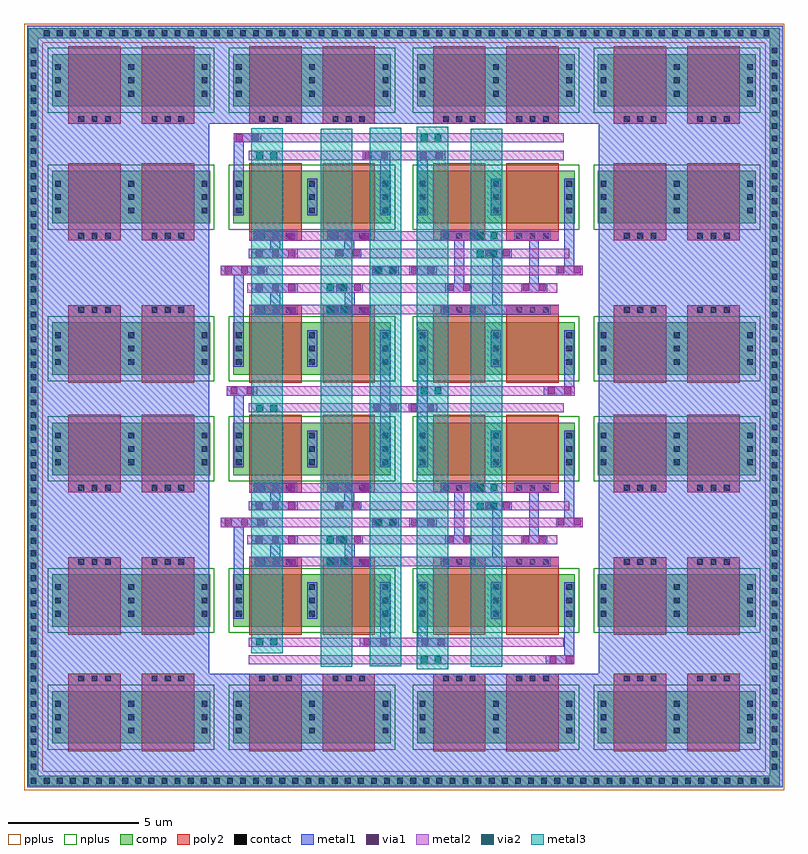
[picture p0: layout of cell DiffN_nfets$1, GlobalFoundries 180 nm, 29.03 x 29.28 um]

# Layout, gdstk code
import gdstk
lib = gdstk.Library(unit=1e-6, precision=1e-09)
def R(c, l, rs):  # rectangles x0, y0, x1, y1
    for r in rs: c.add(gdstk.rectangle(r[:2], r[2:], *l))
def A(c, l, x, y, w, h, nx, ny, dx, dy):  # array of equal rectangles
    R(c, l, [(x+i*dx, y+j*dy, x+i*dx+w, y+j*dy+h) for i in range(nx) for j in range(ny)])
comp = (22, 0)
poly2 = (30, 0)
pplus = (31, 0)
nplus = (32, 0)
contact = (33, 0)
metal1 = (34, 0)
via1 = (35, 0)
metal2 = (36, 0)
via2 = (38, 0)
metal3 = (42, 0)

nfet_1 = lib.new_cell('nfet$1')
R(nfet_1, comp, [(-0.42,0,0,2), (0,0,2.38,2), (2.38,0,2.8,2)])
R(nfet_1, poly2, [(0.19,-0.3,2.19,2.3), (0.19,2.3,2.19,2.66)])
R(nfet_1, nplus, [(-0.59,-0.24,2.97,2.24)])
A(nfet_1, contact, -0.32, 0.38, 0.22, 0.22, 1, 3, 0, 0.51)
A(nfet_1, contact, 2.48, 0.38, 0.22, 0.22, 1, 3, 0, 0.51)
A(nfet_1, contact, 0.57, 2.37, 0.22, 0.22, 3, 1, 0.51, 0)
R(nfet_1, metal1, [(-0.4,0.3,-0.02,1.7), (2.4,0.3,2.78,1.7), (0.49,2.29,1.89,2.67)])

diffn_nfets_1 = lib.new_cell('DiffN_nfets$1')
R(diffn_nfets_1, comp, [(-8.235,-3.245,20.455,-2.865), (-8.235,-2.865,-7.855,25.695), (20.075,-2.865,20.455,25.695), (-8.235,25.315,20.455,25.695)])
R(diffn_nfets_1, pplus, [(-8.405,-3.415,20.625,-2.695), (-8.405,-3.04,-7.685,25.865), (19.905,-3.04,20.625,25.865), (-8.405,25.145,20.625,25.865)])
A(diffn_nfets_1, contact, -8.15, -3.165, 0.22, 0.22, 57, 1, 0.5, 0)
A(diffn_nfets_1, contact, -8.155, -2.63, 0.22, 0.22, 1, 58, 0, 0.48)
A(diffn_nfets_1, contact, 20.155, -2.63, 0.22, 0.22, 1, 58, 0, 0.48)
A(diffn_nfets_1, contact, -7.65, 25.395, 0.22, 0.22, 56, 1, 0.5, 0)
R(diffn_nfets_1, contact, [(-8.155,24.73,-7.935,24.95)])
R(diffn_nfets_1, metal1, [(-8.275,-3.3,-1.32,25.785), (-1.715,-3.3,20.585,1.045), (13.54,-1.325,20.585,24.405), (11.515,1.39,12.61,1.745), (12.23,1.47,12.61,3.615), (4.42,2.065,5.59,2.42), (5.21,2.065,5.59,4.14), (6.63,2.065,7.8,2.42), (6.63,2.065,7.01,3.74), (-0.39,4.515,-0.01,6.84), (0.41,5.125,2.06,5.505), (1.01,5.125,1.39,6.22), (3.185,5.125,4.835,5.505), (3.845,5.125,4.225,6.33), (8.845,5.125,10.755,5.505), (9.48,5.16,9.86,7.3), (0.295,5.975,2.06,6.33), (3.525,5.975,4.535,6.33), (3.525,5.975,4.535,6.33), (3.525,5.975,4.535,6.33), (7.695,5.975,8.705,6.33), (7.695,5.975,8.705,6.33), (7.695,5.975,8.705,6.33), (10.58,5.975,11.59,6.33), (10.58,5.975,11.59,6.33), (10.58,5.975,11.59,6.33), (8.025,6.19,8.405,8.33), (10.885,6.275,11.265,8.335), (-0.885,6.635,0.88,6.99), (4.9,6.635,5.91,6.99), (4.9,6.635,5.91,6.99), (4.9,6.635,5.91,6.99), (6.31,6.635,7.37,6.99), (11.92,6.635,12.93,6.99), (11.92,6.635,12.93,6.99), (11.92,6.635,12.93,6.99), (12.23,6.905,12.61,9.23), (12.23,6.905,12.61,9.23), (0.295,7.275,2.06,7.63), (3.475,7.275,4.485,7.63), (3.475,7.275,4.485,7.63), (3.475,7.275,4.485,7.63), (9.21,7.275,10.22,7.63), (9.21,7.275,10.22,7.63), (9.21,7.275,10.22,7.63), (1.01,7.315,1.39,8.325), (3.83,7.325,4.21,8.325), (0.38,7.955,2.03,8.335), (3.185,7.955,4.835,8.335), (-0.39,10.285,-0.01,11.94), (5.21,10.3,5.59,11.335), (6.63,10.3,7.01,12.825), (4.8,11.015,5.915,11.37), (6.3,11.015,7.385,11.37), (5.21,11.31,5.59,12.855), (-0.665,11.66,0.505,12.015), (11.455,11.66,12.625,12.015), (12.23,11.66,12.61,12.86), (-0.39,14.135,-0.01,16.46), (0.41,14.745,2.06,15.125), (1.01,14.745,1.39,15.84), (3.185,14.745,4.835,15.125), (3.845,14.745,4.225,15.95), (8.845,14.745,10.755,15.125), (9.48,14.78,9.86,16.94), (0.295,15.595,2.06,15.95), (3.525,15.595,4.535,15.95), (3.525,15.595,4.535,15.95), (3.525,15.595,4.535,15.95), (7.695,15.595,8.705,15.95), (7.695,15.595,8.705,15.95), (7.695,15.595,8.705,15.95), (10.58,15.595,11.59,15.95), (10.58,15.595,11.59,15.95), (10.58,15.595,11.59,15.95), (8.025,15.81,8.405,17.95), (10.885,15.895,11.265,17.955), (-0.885,16.265,0.88,16.62), (4.9,16.265,5.91,16.62), (4.9,16.265,5.91,16.62), (4.9,16.265,5.91,16.62), (6.31,16.265,7.37,16.62), (11.92,16.265,12.93,16.62), (11.92,16.265,12.93,16.62), (11.92,16.265,12.93,16.62), (12.23,16.525,12.61,18.85), (12.23,16.525,12.61,18.85), (0.295,16.91,2.06,17.265), (3.475,16.91,4.485,17.265), (3.475,16.91,4.485,17.265), (3.475,16.91,4.485,17.265), (9.21,16.91,10.22,17.265), (9.21,16.91,10.22,17.265), (9.21,16.91,10.22,17.265), (1.01,16.93,1.39,17.945), (3.83,16.985,4.21,17.945), (0.38,17.575,2.03,17.955), (3.185,17.575,4.835,17.955), (-0.39,19.915,-0.01,21.425), (5.21,19.915,5.59,20.9), (6.63,19.915,7.01,20.9), (4.535,20.655,5.59,21.01), (6.63,20.655,7.685,21.01), (-0.39,21.335,0.665,21.69), (-1.715,22.035,20.585,25.785)])
R(diffn_nfets_1, via1, [(11.67,1.44,11.93,1.7), (11.67,1.44,11.93,1.7), (11.67,1.44,11.93,1.7), (11.67,1.44,11.93,1.7), (11.67,1.44,11.93,1.7), (11.67,1.44,11.93,1.7), (11.67,1.44,11.93,1.7), (11.67,1.44,11.93,1.7), (12.29,1.44,12.55,1.7), (12.29,1.44,12.55,1.7), (12.29,1.44,12.55,1.7), (12.29,1.44,12.55,1.7), (12.29,1.44,12.55,1.7), (12.29,1.44,12.55,1.7), (12.29,1.44,12.55,1.7), (12.29,1.44,12.55,1.7), (4.575,2.115,4.835,2.375), (4.575,2.115,4.835,2.375), (4.575,2.115,4.835,2.375), (4.575,2.115,4.835,2.375), (4.575,2.115,4.835,2.375), (4.575,2.115,4.835,2.375), (4.575,2.115,4.835,2.375), (4.575,2.115,4.835,2.375), (5.195,2.115,5.455,2.375), (5.195,2.115,5.455,2.375), (5.195,2.115,5.455,2.375), (5.195,2.115,5.455,2.375), (5.195,2.115,5.455,2.375), (5.195,2.115,5.455,2.375), (5.195,2.115,5.455,2.375), (5.195,2.115,5.455,2.375), (6.785,2.115,7.045,2.375), (6.785,2.115,7.045,2.375), (6.785,2.115,7.045,2.375), (6.785,2.115,7.045,2.375), (6.785,2.115,7.045,2.375), (6.785,2.115,7.045,2.375), (6.785,2.115,7.045,2.375), (6.785,2.115,7.045,2.375), (7.405,2.115,7.665,2.375), (7.405,2.115,7.665,2.375), (7.405,2.115,7.665,2.375), (7.405,2.115,7.665,2.375), (7.405,2.115,7.665,2.375), (7.405,2.115,7.665,2.375), (7.405,2.115,7.665,2.375), (7.405,2.115,7.665,2.375), (0.48,5.175,0.74,5.435), (0.48,5.175,0.74,5.435), (0.48,5.175,0.74,5.435), (0.48,5.175,0.74,5.435), (0.48,5.175,0.74,5.435), (0.48,5.175,0.74,5.435), (0.48,5.175,0.74,5.435), (0.48,5.175,0.74,5.435), (1.1,5.175,1.36,5.435), (1.1,5.175,1.36,5.435), (1.1,5.175,1.36,5.435), (1.1,5.175,1.36,5.435), (1.1,5.175,1.36,5.435), (1.1,5.175,1.36,5.435), (1.1,5.175,1.36,5.435), (1.1,5.175,1.36,5.435), (1.72,5.175,1.98,5.435), (1.72,5.175,1.98,5.435), (1.72,5.175,1.98,5.435), (1.72,5.175,1.98,5.435), (1.72,5.175,1.98,5.435), (1.72,5.175,1.98,5.435), (1.72,5.175,1.98,5.435), (1.72,5.175,1.98,5.435), (3.255,5.175,3.515,5.435), (3.255,5.175,3.515,5.435), (3.255,5.175,3.515,5.435), (3.255,5.175,3.515,5.435), (3.255,5.175,3.515,5.435), (3.255,5.175,3.515,5.435), (3.255,5.175,3.515,5.435), (3.255,5.175,3.515,5.435), (3.875,5.175,4.135,5.435), (3.875,5.175,4.135,5.435), (3.875,5.175,4.135,5.435), (3.875,5.175,4.135,5.435), (3.875,5.175,4.135,5.435), (3.875,5.175,4.135,5.435), (3.875,5.175,4.135,5.435), (3.875,5.175,4.135,5.435), (4.495,5.175,4.755,5.435), (4.495,5.175,4.755,5.435), (4.495,5.175,4.755,5.435), (4.495,5.175,4.755,5.435), (4.495,5.175,4.755,5.435), (4.495,5.175,4.755,5.435), (4.495,5.175,4.755,5.435), (4.495,5.175,4.755,5.435), (0.45,6.025,0.71,6.285), (0.45,6.025,0.71,6.285), (0.45,6.025,0.71,6.285), (0.45,6.025,0.71,6.285), (0.45,6.025,0.71,6.285), (0.45,6.025,0.71,6.285), (0.45,6.025,0.71,6.285), (0.45,6.025,0.71,6.285), (1.07,6.025,1.33,6.285), (1.07,6.025,1.33,6.285), (1.07,6.025,1.33,6.285), (1.07,6.025,1.33,6.285), (1.07,6.025,1.33,6.285), (1.07,6.025,1.33,6.285), (1.07,6.025,1.33,6.285), (1.07,6.025,1.33,6.285), (1.69,6.025,1.95,6.285), (1.69,6.025,1.95,6.285), (1.69,6.025,1.95,6.285), (1.69,6.025,1.95,6.285), (1.69,6.025,1.95,6.285), (1.69,6.025,1.95,6.285), (1.69,6.025,1.95,6.285), (1.69,6.025,1.95,6.285), (3.585,6.04,3.845,6.3), (4.205,6.04,4.465,6.3), (7.755,6.04,8.015,6.3), (8.375,6.04,8.635,6.3), (10.64,6.04,10.9,6.3), (11.26,6.04,11.52,6.3), (-0.73,6.685,-0.47,6.945), (-0.73,6.685,-0.47,6.945), (-0.73,6.685,-0.47,6.945), (-0.73,6.685,-0.47,6.945), (-0.73,6.685,-0.47,6.945), (-0.73,6.685,-0.47,6.945), (-0.73,6.685,-0.47,6.945), (-0.73,6.685,-0.47,6.945), (-0.11,6.685,0.15,6.945), (-0.11,6.685,0.15,6.945), (-0.11,6.685,0.15,6.945), (-0.11,6.685,0.15,6.945), (-0.11,6.685,0.15,6.945), (-0.11,6.685,0.15,6.945), (-0.11,6.685,0.15,6.945), (-0.11,6.685,0.15,6.945), (0.51,6.685,0.77,6.945), (0.51,6.685,0.77,6.945), (0.51,6.685,0.77,6.945), (0.51,6.685,0.77,6.945), (0.51,6.685,0.77,6.945), (0.51,6.685,0.77,6.945), (0.51,6.685,0.77,6.945), (0.51,6.685,0.77,6.945), (6.38,6.685,6.64,6.945), (6.38,6.685,6.64,6.945), (6.38,6.685,6.64,6.945), (6.38,6.685,6.64,6.945), (6.38,6.685,6.64,6.945), (6.38,6.685,6.64,6.945), (6.38,6.685,6.64,6.945), (6.38,6.685,6.64,6.945), (7,6.685,7.26,6.945), (7,6.685,7.26,6.945), (7,6.685,7.26,6.945), (7,6.685,7.26,6.945), (7,6.685,7.26,6.945), (7,6.685,7.26,6.945), (7,6.685,7.26,6.945), (7,6.685,7.26,6.945), (4.96,6.7,5.22,6.96), (4.96,6.7,5.22,6.96), (5.58,6.7,5.84,6.96), (5.58,6.7,5.84,6.96), (11.98,6.7,12.24,6.96), (11.98,6.7,12.24,6.96), (12.6,6.7,12.86,6.96), (12.6,6.7,12.86,6.96), (0.45,7.325,0.71,7.585), (0.45,7.325,0.71,7.585), (0.45,7.325,0.71,7.585), (0.45,7.325,0.71,7.585), (0.45,7.325,0.71,7.585), (0.45,7.325,0.71,7.585), (0.45,7.325,0.71,7.585), (0.45,7.325,0.71,7.585), (1.07,7.325,1.33,7.585), (1.07,7.325,1.33,7.585), (1.07,7.325,1.33,7.585), (1.07,7.325,1.33,7.585), (1.07,7.325,1.33,7.585), (1.07,7.325,1.33,7.585), (1.07,7.325,1.33,7.585), (1.07,7.325,1.33,7.585), (1.69,7.325,1.95,7.585), (1.69,7.325,1.95,7.585), (1.69,7.325,1.95,7.585), (1.69,7.325,1.95,7.585), (1.69,7.325,1.95,7.585), (1.69,7.325,1.95,7.585), (1.69,7.325,1.95,7.585), (1.69,7.325,1.95,7.585), (3.535,7.34,3.795,7.6), (4.155,7.34,4.415,7.6), (9.27,7.34,9.53,7.6), (9.89,7.34,10.15,7.6), (0.45,8.005,0.71,8.265), (0.45,8.005,0.71,8.265), (0.45,8.005,0.71,8.265), (0.45,8.005,0.71,8.265), (0.45,8.005,0.71,8.265), (0.45,8.005,0.71,8.265), (0.45,8.005,0.71,8.265), (0.45,8.005,0.71,8.265), (1.07,8.005,1.33,8.265), (1.07,8.005,1.33,8.265), (1.07,8.005,1.33,8.265), (1.07,8.005,1.33,8.265), (1.07,8.005,1.33,8.265), (1.07,8.005,1.33,8.265), (1.07,8.005,1.33,8.265), (1.07,8.005,1.33,8.265), (1.69,8.005,1.95,8.265), (1.69,8.005,1.95,8.265), (1.69,8.005,1.95,8.265), (1.69,8.005,1.95,8.265), (1.69,8.005,1.95,8.265), (1.69,8.005,1.95,8.265), (1.69,8.005,1.95,8.265), (1.69,8.005,1.95,8.265), (3.255,8.005,3.515,8.265), (3.255,8.005,3.515,8.265), (3.255,8.005,3.515,8.265), (3.255,8.005,3.515,8.265), (3.255,8.005,3.515,8.265), (3.255,8.005,3.515,8.265), (3.255,8.005,3.515,8.265), (3.255,8.005,3.515,8.265), (3.875,8.005,4.135,8.265), (3.875,8.005,4.135,8.265), (3.875,8.005,4.135,8.265), (3.875,8.005,4.135,8.265), (3.875,8.005,4.135,8.265), (3.875,8.005,4.135,8.265), (3.875,8.005,4.135,8.265), (3.875,8.005,4.135,8.265), (4.495,8.005,4.755,8.265), (4.495,8.005,4.755,8.265), (4.495,8.005,4.755,8.265), (4.495,8.005,4.755,8.265), (4.495,8.005,4.755,8.265), (4.495,8.005,4.755,8.265), (4.495,8.005,4.755,8.265), (4.495,8.005,4.755,8.265), (4.955,11.065,5.215,11.325), (4.955,11.065,5.215,11.325), (4.955,11.065,5.215,11.325), (4.955,11.065,5.215,11.325), (4.955,11.065,5.215,11.325), (4.955,11.065,5.215,11.325), (4.955,11.065,5.215,11.325), (4.955,11.065,5.215,11.325), (5.575,11.065,5.835,11.325), (5.575,11.065,5.835,11.325), (5.575,11.065,5.835,11.325), (5.575,11.065,5.835,11.325), (5.575,11.065,5.835,11.325), (5.575,11.065,5.835,11.325), (5.575,11.065,5.835,11.325), (5.575,11.065,5.835,11.325), (6.37,11.065,6.63,11.325), (6.37,11.065,6.63,11.325), (6.37,11.065,6.63,11.325), (6.37,11.065,6.63,11.325), (6.37,11.065,6.63,11.325), (6.37,11.065,6.63,11.325), (6.37,11.065,6.63,11.325), (6.37,11.065,6.63,11.325), (6.99,11.065,7.25,11.325), (6.99,11.065,7.25,11.325), (6.99,11.065,7.25,11.325), (6.99,11.065,7.25,11.325), (6.99,11.065,7.25,11.325), (6.99,11.065,7.25,11.325), (6.99,11.065,7.25,11.325), (6.99,11.065,7.25,11.325), (-0.51,11.71,-0.25,11.97), (-0.51,11.71,-0.25,11.97), (-0.51,11.71,-0.25,11.97), (-0.51,11.71,-0.25,11.97), (-0.51,11.71,-0.25,11.97), (-0.51,11.71,-0.25,11.97), (-0.51,11.71,-0.25,11.97), (-0.51,11.71,-0.25,11.97), (0.11,11.71,0.37,11.97), (0.11,11.71,0.37,11.97), (0.11,11.71,0.37,11.97), (0.11,11.71,0.37,11.97), (0.11,11.71,0.37,11.97), (0.11,11.71,0.37,11.97), (0.11,11.71,0.37,11.97), (0.11,11.71,0.37,11.97), (11.61,11.71,11.87,11.97), (11.61,11.71,11.87,11.97), (11.61,11.71,11.87,11.97), (11.61,11.71,11.87,11.97), (11.61,11.71,11.87,11.97), (11.61,11.71,11.87,11.97), (11.61,11.71,11.87,11.97), (11.61,11.71,11.87,11.97), (12.23,11.71,12.49,11.97), (12.23,11.71,12.49,11.97), (12.23,11.71,12.49,11.97), (12.23,11.71,12.49,11.97), (12.23,11.71,12.49,11.97), (12.23,11.71,12.49,11.97), (12.23,11.71,12.49,11.97), (12.23,11.71,12.49,11.97), (0.48,14.795,0.74,15.055), (0.48,14.795,0.74,15.055), (0.48,14.795,0.74,15.055), (0.48,14.795,0.74,15.055), (0.48,14.795,0.74,15.055), (0.48,14.795,0.74,15.055), (0.48,14.795,0.74,15.055), (0.48,14.795,0.74,15.055), (1.1,14.795,1.36,15.055), (1.1,14.795,1.36,15.055), (1.1,14.795,1.36,15.055), (1.1,14.795,1.36,15.055), (1.1,14.795,1.36,15.055), (1.1,14.795,1.36,15.055), (1.1,14.795,1.36,15.055), (1.1,14.795,1.36,15.055), (1.72,14.795,1.98,15.055), (1.72,14.795,1.98,15.055), (1.72,14.795,1.98,15.055), (1.72,14.795,1.98,15.055), (1.72,14.795,1.98,15.055), (1.72,14.795,1.98,15.055), (1.72,14.795,1.98,15.055), (1.72,14.795,1.98,15.055), (3.255,14.795,3.515,15.055), (3.255,14.795,3.515,15.055), (3.255,14.795,3.515,15.055), (3.255,14.795,3.515,15.055), (3.255,14.795,3.515,15.055), (3.255,14.795,3.515,15.055), (3.255,14.795,3.515,15.055), (3.255,14.795,3.515,15.055), (3.875,14.795,4.135,15.055), (3.875,14.795,4.135,15.055), (3.875,14.795,4.135,15.055), (3.875,14.795,4.135,15.055), (3.875,14.795,4.135,15.055), (3.875,14.795,4.135,15.055), (3.875,14.795,4.135,15.055), (3.875,14.795,4.135,15.055), (4.495,14.795,4.755,15.055), (4.495,14.795,4.755,15.055), (4.495,14.795,4.755,15.055), (4.495,14.795,4.755,15.055), (4.495,14.795,4.755,15.055), (4.495,14.795,4.755,15.055), (4.495,14.795,4.755,15.055), (4.495,14.795,4.755,15.055), (0.45,15.645,0.71,15.905), (0.45,15.645,0.71,15.905), (0.45,15.645,0.71,15.905), (0.45,15.645,0.71,15.905), (0.45,15.645,0.71,15.905), (0.45,15.645,0.71,15.905), (0.45,15.645,0.71,15.905), (0.45,15.645,0.71,15.905), (1.07,15.645,1.33,15.905), (1.07,15.645,1.33,15.905), (1.07,15.645,1.33,15.905), (1.07,15.645,1.33,15.905), (1.07,15.645,1.33,15.905), (1.07,15.645,1.33,15.905), (1.07,15.645,1.33,15.905), (1.07,15.645,1.33,15.905), (1.69,15.645,1.95,15.905), (1.69,15.645,1.95,15.905), (1.69,15.645,1.95,15.905), (1.69,15.645,1.95,15.905), (1.69,15.645,1.95,15.905), (1.69,15.645,1.95,15.905), (1.69,15.645,1.95,15.905), (1.69,15.645,1.95,15.905), (3.585,15.66,3.845,15.92), (4.205,15.66,4.465,15.92), (7.755,15.66,8.015,15.92), (8.375,15.66,8.635,15.92), (10.64,15.66,10.9,15.92), (11.26,15.66,11.52,15.92), (-0.73,16.315,-0.47,16.575), (-0.73,16.315,-0.47,16.575), (-0.73,16.315,-0.47,16.575), (-0.73,16.315,-0.47,16.575), (-0.73,16.315,-0.47,16.575), (-0.73,16.315,-0.47,16.575), (-0.73,16.315,-0.47,16.575), (-0.73,16.315,-0.47,16.575), (-0.11,16.315,0.15,16.575), (-0.11,16.315,0.15,16.575), (-0.11,16.315,0.15,16.575), (-0.11,16.315,0.15,16.575), (-0.11,16.315,0.15,16.575), (-0.11,16.315,0.15,16.575), (-0.11,16.315,0.15,16.575), (-0.11,16.315,0.15,16.575), (0.51,16.315,0.77,16.575), (0.51,16.315,0.77,16.575), (0.51,16.315,0.77,16.575), (0.51,16.315,0.77,16.575), (0.51,16.315,0.77,16.575), (0.51,16.315,0.77,16.575), (0.51,16.315,0.77,16.575), (0.51,16.315,0.77,16.575), (6.38,16.315,6.64,16.575), (6.38,16.315,6.64,16.575), (6.38,16.315,6.64,16.575), (6.38,16.315,6.64,16.575), (6.38,16.315,6.64,16.575), (6.38,16.315,6.64,16.575), (6.38,16.315,6.64,16.575), (6.38,16.315,6.64,16.575), (7,16.315,7.26,16.575), (7,16.315,7.26,16.575), (7,16.315,7.26,16.575), (7,16.315,7.26,16.575), (7,16.315,7.26,16.575), (7,16.315,7.26,16.575), (7,16.315,7.26,16.575), (7,16.315,7.26,16.575), (4.96,16.33,5.22,16.59), (4.96,16.33,5.22,16.59), (5.58,16.33,5.84,16.59), (5.58,16.33,5.84,16.59), (11.98,16.33,12.24,16.59), (11.98,16.33,12.24,16.59), (12.6,16.33,12.86,16.59), (12.6,16.33,12.86,16.59), (0.45,16.96,0.71,17.22), (0.45,16.96,0.71,17.22), (0.45,16.96,0.71,17.22), (0.45,16.96,0.71,17.22), (0.45,16.96,0.71,17.22), (0.45,16.96,0.71,17.22), (0.45,16.96,0.71,17.22), (0.45,16.96,0.71,17.22), (1.07,16.96,1.33,17.22), (1.07,16.96,1.33,17.22), (1.07,16.96,1.33,17.22), (1.07,16.96,1.33,17.22), (1.07,16.96,1.33,17.22), (1.07,16.96,1.33,17.22), (1.07,16.96,1.33,17.22), (1.07,16.96,1.33,17.22), (1.69,16.96,1.95,17.22), (1.69,16.96,1.95,17.22), (1.69,16.96,1.95,17.22), (1.69,16.96,1.95,17.22), (1.69,16.96,1.95,17.22), (1.69,16.96,1.95,17.22), (1.69,16.96,1.95,17.22), (1.69,16.96,1.95,17.22), (3.535,16.975,3.795,17.235), (4.155,16.975,4.415,17.235), (9.27,16.975,9.53,17.235), (9.89,16.975,10.15,17.235), (0.45,17.625,0.71,17.885), (0.45,17.625,0.71,17.885), (0.45,17.625,0.71,17.885), (0.45,17.625,0.71,17.885), (0.45,17.625,0.71,17.885), (0.45,17.625,0.71,17.885), (0.45,17.625,0.71,17.885), (0.45,17.625,0.71,17.885), (1.07,17.625,1.33,17.885), (1.07,17.625,1.33,17.885), (1.07,17.625,1.33,17.885), (1.07,17.625,1.33,17.885), (1.07,17.625,1.33,17.885), (1.07,17.625,1.33,17.885), (1.07,17.625,1.33,17.885), (1.07,17.625,1.33,17.885), (1.69,17.625,1.95,17.885), (1.69,17.625,1.95,17.885), (1.69,17.625,1.95,17.885), (1.69,17.625,1.95,17.885), (1.69,17.625,1.95,17.885), (1.69,17.625,1.95,17.885), (1.69,17.625,1.95,17.885), (1.69,17.625,1.95,17.885), (3.255,17.625,3.515,17.885), (3.255,17.625,3.515,17.885), (3.255,17.625,3.515,17.885), (3.255,17.625,3.515,17.885), (3.255,17.625,3.515,17.885), (3.255,17.625,3.515,17.885), (3.255,17.625,3.515,17.885), (3.255,17.625,3.515,17.885), (3.875,17.625,4.135,17.885), (3.875,17.625,4.135,17.885), (3.875,17.625,4.135,17.885), (3.875,17.625,4.135,17.885), (3.875,17.625,4.135,17.885), (3.875,17.625,4.135,17.885), (3.875,17.625,4.135,17.885), (3.875,17.625,4.135,17.885), (4.495,17.625,4.755,17.885), (4.495,17.625,4.755,17.885), (4.495,17.625,4.755,17.885), (4.495,17.625,4.755,17.885), (4.495,17.625,4.755,17.885), (4.495,17.625,4.755,17.885), (4.495,17.625,4.755,17.885), (4.495,17.625,4.755,17.885), (4.615,20.705,4.875,20.965), (4.615,20.705,4.875,20.965), (4.615,20.705,4.875,20.965), (4.615,20.705,4.875,20.965), (4.615,20.705,4.875,20.965), (4.615,20.705,4.875,20.965), (4.615,20.705,4.875,20.965), (4.615,20.705,4.875,20.965), (5.235,20.705,5.495,20.965), (5.235,20.705,5.495,20.965), (5.235,20.705,5.495,20.965), (5.235,20.705,5.495,20.965), (5.235,20.705,5.495,20.965), (5.235,20.705,5.495,20.965), (5.235,20.705,5.495,20.965), (5.235,20.705,5.495,20.965), (6.71,20.705,6.97,20.965), (6.71,20.705,6.97,20.965), (6.71,20.705,6.97,20.965), (6.71,20.705,6.97,20.965), (6.71,20.705,6.97,20.965), (6.71,20.705,6.97,20.965), (6.71,20.705,6.97,20.965), (6.71,20.705,6.97,20.965), (7.33,20.705,7.59,20.965), (7.33,20.705,7.59,20.965), (7.33,20.705,7.59,20.965), (7.33,20.705,7.59,20.965), (7.33,20.705,7.59,20.965), (7.33,20.705,7.59,20.965), (7.33,20.705,7.59,20.965), (7.33,20.705,7.59,20.965), (-0.31,21.385,-0.05,21.645), (-0.31,21.385,-0.05,21.645), (-0.31,21.385,-0.05,21.645), (-0.31,21.385,-0.05,21.645), (-0.31,21.385,-0.05,21.645), (-0.31,21.385,-0.05,21.645), (-0.31,21.385,-0.05,21.645), (-0.31,21.385,-0.05,21.645), (0.31,21.385,0.57,21.645), (0.31,21.385,0.57,21.645), (0.31,21.385,0.57,21.645), (0.31,21.385,0.57,21.645), (0.31,21.385,0.57,21.645), (0.31,21.385,0.57,21.645), (0.31,21.385,0.57,21.645), (0.31,21.385,0.57,21.645)])
R(diffn_nfets_1, metal2, [(0.18,1.39,12.62,1.745), (0.18,2.065,12.215,2.42), (0.2,5.15,12.02,5.505), (0.12,5.975,11.97,6.33), (-0.885,6.635,12.935,6.99), (0.18,6.635,12.425,6.99), (0.18,7.275,12.425,7.63), (0.2,7.955,12.02,8.31), (0.18,11.015,12.215,11.37), (-0.665,11.66,12.625,12.015), (0.2,14.77,12.02,15.125), (0.12,15.595,11.97,15.95), (-0.885,16.265,12.935,16.62), (0.18,16.265,12.425,16.62), (0.18,16.91,12.425,17.265), (0.2,17.575,12.02,17.93), (0.18,20.655,12.215,21.01), (-0.395,21.335,12.215,21.69)])
R(diffn_nfets_1, via2, [(6.75,1.455,7.01,1.715), (6.75,1.455,7.01,1.715), (6.75,1.455,7.01,1.715), (6.75,1.455,7.01,1.715), (6.75,1.455,7.01,1.715), (6.75,1.455,7.01,1.715), (6.75,1.455,7.01,1.715), (6.75,1.455,7.01,1.715), (7.28,1.455,7.54,1.715), (7.28,1.455,7.54,1.715), (7.28,1.455,7.54,1.715), (7.28,1.455,7.54,1.715), (7.28,1.455,7.54,1.715), (7.28,1.455,7.54,1.715), (7.28,1.455,7.54,1.715), (7.28,1.455,7.54,1.715), (0.47,2.12,0.73,2.38), (0.47,2.12,0.73,2.38), (0.47,2.12,0.73,2.38), (0.47,2.12,0.73,2.38), (0.47,2.12,0.73,2.38), (0.47,2.12,0.73,2.38), (0.47,2.12,0.73,2.38), (0.47,2.12,0.73,2.38), (1,2.12,1.26,2.38), (1,2.12,1.26,2.38), (1,2.12,1.26,2.38), (1,2.12,1.26,2.38), (1,2.12,1.26,2.38), (1,2.12,1.26,2.38), (1,2.12,1.26,2.38), (1,2.12,1.26,2.38), (3.16,5.205,3.42,5.465), (3.16,5.205,3.42,5.465), (3.16,5.205,3.42,5.465), (3.16,5.205,3.42,5.465), (3.16,5.205,3.42,5.465), (3.16,5.205,3.42,5.465), (3.16,5.205,3.42,5.465), (3.16,5.205,3.42,5.465), (3.69,5.205,3.95,5.465), (3.69,5.205,3.95,5.465), (3.69,5.205,3.95,5.465), (3.69,5.205,3.95,5.465), (3.69,5.205,3.95,5.465), (3.69,5.205,3.95,5.465), (3.69,5.205,3.95,5.465), (3.69,5.205,3.95,5.465), (3.16,6.03,3.42,6.29), (3.16,6.03,3.42,6.29), (3.16,6.03,3.42,6.29), (3.16,6.03,3.42,6.29), (3.16,6.03,3.42,6.29), (3.16,6.03,3.42,6.29), (3.16,6.03,3.42,6.29), (3.16,6.03,3.42,6.29), (3.69,6.03,3.95,6.29), (3.69,6.03,3.95,6.29), (3.69,6.03,3.95,6.29), (3.69,6.03,3.95,6.29), (3.69,6.03,3.95,6.29), (3.69,6.03,3.95,6.29), (3.69,6.03,3.95,6.29), (3.69,6.03,3.95,6.29), (5.01,6.68,5.27,6.94), (5.01,6.68,5.27,6.94), (5.01,6.68,5.27,6.94), (5.01,6.68,5.27,6.94), (5.01,6.68,5.27,6.94), (5.01,6.68,5.27,6.94), (5.01,6.68,5.27,6.94), (5.01,6.68,5.27,6.94), (5.54,6.68,5.8,6.94), (5.54,6.68,5.8,6.94), (5.54,6.68,5.8,6.94), (5.54,6.68,5.8,6.94), (5.54,6.68,5.8,6.94), (5.54,6.68,5.8,6.94), (5.54,6.68,5.8,6.94), (5.54,6.68,5.8,6.94), (8.89,7.31,9.15,7.57), (8.89,7.31,9.15,7.57), (8.89,7.31,9.15,7.57), (8.89,7.31,9.15,7.57), (8.89,7.31,9.15,7.57), (8.89,7.31,9.15,7.57), (8.89,7.31,9.15,7.57), (8.89,7.31,9.15,7.57), (9.42,7.31,9.68,7.57), (9.42,7.31,9.68,7.57), (9.42,7.31,9.68,7.57), (9.42,7.31,9.68,7.57), (9.42,7.31,9.68,7.57), (9.42,7.31,9.68,7.57), (9.42,7.31,9.68,7.57), (9.42,7.31,9.68,7.57), (8.89,8.01,9.15,8.27), (8.89,8.01,9.15,8.27), (8.89,8.01,9.15,8.27), (8.89,8.01,9.15,8.27), (8.89,8.01,9.15,8.27), (8.89,8.01,9.15,8.27), (8.89,8.01,9.15,8.27), (8.89,8.01,9.15,8.27), (9.42,8.01,9.68,8.27), (9.42,8.01,9.68,8.27), (9.42,8.01,9.68,8.27), (9.42,8.01,9.68,8.27), (9.42,8.01,9.68,8.27), (9.42,8.01,9.68,8.27), (9.42,8.01,9.68,8.27), (9.42,8.01,9.68,8.27), (0.47,11.05,0.73,11.31), (0.47,11.05,0.73,11.31), (0.47,11.05,0.73,11.31), (0.47,11.05,0.73,11.31), (0.47,11.05,0.73,11.31), (0.47,11.05,0.73,11.31), (0.47,11.05,0.73,11.31), (0.47,11.05,0.73,11.31), (1,11.05,1.26,11.31), (1,11.05,1.26,11.31), (1,11.05,1.26,11.31), (1,11.05,1.26,11.31), (1,11.05,1.26,11.31), (1,11.05,1.26,11.31), (1,11.05,1.26,11.31), (1,11.05,1.26,11.31), (6.75,11.72,7.01,11.98), (6.75,11.72,7.01,11.98), (6.75,11.72,7.01,11.98), (6.75,11.72,7.01,11.98), (6.75,11.72,7.01,11.98), (6.75,11.72,7.01,11.98), (6.75,11.72,7.01,11.98), (6.75,11.72,7.01,11.98), (7.28,11.72,7.54,11.98), (7.28,11.72,7.54,11.98), (7.28,11.72,7.54,11.98), (7.28,11.72,7.54,11.98), (7.28,11.72,7.54,11.98), (7.28,11.72,7.54,11.98), (7.28,11.72,7.54,11.98), (7.28,11.72,7.54,11.98), (3.16,14.82,3.42,15.08), (3.16,14.82,3.42,15.08), (3.16,14.82,3.42,15.08), (3.16,14.82,3.42,15.08), (3.16,14.82,3.42,15.08), (3.16,14.82,3.42,15.08), (3.16,14.82,3.42,15.08), (3.16,14.82,3.42,15.08), (3.69,14.82,3.95,15.08), (3.69,14.82,3.95,15.08), (3.69,14.82,3.95,15.08), (3.69,14.82,3.95,15.08), (3.69,14.82,3.95,15.08), (3.69,14.82,3.95,15.08), (3.69,14.82,3.95,15.08), (3.69,14.82,3.95,15.08), (3.16,15.645,3.42,15.905), (3.16,15.645,3.42,15.905), (3.16,15.645,3.42,15.905), (3.16,15.645,3.42,15.905), (3.16,15.645,3.42,15.905), (3.16,15.645,3.42,15.905), (3.16,15.645,3.42,15.905), (3.16,15.645,3.42,15.905), (3.69,15.645,3.95,15.905), (3.69,15.645,3.95,15.905), (3.69,15.645,3.95,15.905), (3.69,15.645,3.95,15.905), (3.69,15.645,3.95,15.905), (3.69,15.645,3.95,15.905), (3.69,15.645,3.95,15.905), (3.69,15.645,3.95,15.905), (5.01,16.315,5.27,16.575), (5.01,16.315,5.27,16.575), (5.01,16.315,5.27,16.575), (5.01,16.315,5.27,16.575), (5.01,16.315,5.27,16.575), (5.01,16.315,5.27,16.575), (5.01,16.315,5.27,16.575), (5.01,16.315,5.27,16.575), (5.54,16.315,5.8,16.575), (5.54,16.315,5.8,16.575), (5.54,16.315,5.8,16.575), (5.54,16.315,5.8,16.575), (5.54,16.315,5.8,16.575), (5.54,16.315,5.8,16.575), (5.54,16.315,5.8,16.575), (5.54,16.315,5.8,16.575), (8.89,16.95,9.15,17.21), (8.89,16.95,9.15,17.21), (8.89,16.95,9.15,17.21), (8.89,16.95,9.15,17.21), (8.89,16.95,9.15,17.21), (8.89,16.95,9.15,17.21), (8.89,16.95,9.15,17.21), (8.89,16.95,9.15,17.21), (9.42,16.95,9.68,17.21), (9.42,16.95,9.68,17.21), (9.42,16.95,9.68,17.21), (9.42,16.95,9.68,17.21), (9.42,16.95,9.68,17.21), (9.42,16.95,9.68,17.21), (9.42,16.95,9.68,17.21), (9.42,16.95,9.68,17.21), (8.89,17.635,9.15,17.895), (8.89,17.635,9.15,17.895), (8.89,17.635,9.15,17.895), (8.89,17.635,9.15,17.895), (8.89,17.635,9.15,17.895), (8.89,17.635,9.15,17.895), (8.89,17.635,9.15,17.895), (8.89,17.635,9.15,17.895), (9.42,17.635,9.68,17.895), (9.42,17.635,9.68,17.895), (9.42,17.635,9.68,17.895), (9.42,17.635,9.68,17.895), (9.42,17.635,9.68,17.895), (9.42,17.635,9.68,17.895), (9.42,17.635,9.68,17.895), (9.42,17.635,9.68,17.895), (0.47,20.7,0.73,20.96), (0.47,20.7,0.73,20.96), (0.47,20.7,0.73,20.96), (0.47,20.7,0.73,20.96), (0.47,20.7,0.73,20.96), (0.47,20.7,0.73,20.96), (0.47,20.7,0.73,20.96), (0.47,20.7,0.73,20.96), (1,20.7,1.26,20.96), (1,20.7,1.26,20.96), (1,20.7,1.26,20.96), (1,20.7,1.26,20.96), (1,20.7,1.26,20.96), (1,20.7,1.26,20.96), (1,20.7,1.26,20.96), (1,20.7,1.26,20.96), (6.75,21.395,7.01,21.655), (6.75,21.395,7.01,21.655), (6.75,21.395,7.01,21.655), (6.75,21.395,7.01,21.655), (6.75,21.395,7.01,21.655), (6.75,21.395,7.01,21.655), (6.75,21.395,7.01,21.655), (6.75,21.395,7.01,21.655), (7.28,21.395,7.54,21.655), (7.28,21.395,7.54,21.655), (7.28,21.395,7.54,21.655), (7.28,21.395,7.54,21.655), (7.28,21.395,7.54,21.655), (7.28,21.395,7.54,21.655), (7.28,21.395,7.54,21.655), (7.28,21.395,7.54,21.655)])
R(diffn_nfets_1, metal3, [(6.595,1.215,7.795,21.93), (2.93,1.3,4.13,21.86), (8.66,1.305,9.86,21.86), (4.81,1.32,6.01,21.895), (0.27,1.825,1.47,21.875)])
diffn_nfets_1.add(gdstk.Reference(nfet_1, (0.01,2.835)))
diffn_nfets_1.add(gdstk.Reference(nfet_1, (2.81,2.835)))
diffn_nfets_1.add(gdstk.Reference(nfet_1, (7.03,2.835)))
diffn_nfets_1.add(gdstk.Reference(nfet_1, (9.83,2.835)))
diffn_nfets_1.add(gdstk.Reference(nfet_1, (0.01,10.625), x_reflection=True))
diffn_nfets_1.add(gdstk.Reference(nfet_1, (2.81,10.625), x_reflection=True))
diffn_nfets_1.add(gdstk.Reference(nfet_1, (7.03,10.625), x_reflection=True))
diffn_nfets_1.add(gdstk.Reference(nfet_1, (9.83,10.625), x_reflection=True))
diffn_nfets_1.add(gdstk.Reference(nfet_1, (9.83,12.455)))
diffn_nfets_1.add(gdstk.Reference(nfet_1, (7.03,12.455)))
diffn_nfets_1.add(gdstk.Reference(nfet_1, (2.81,12.455)))
diffn_nfets_1.add(gdstk.Reference(nfet_1, (0.01,12.455)))
diffn_nfets_1.add(gdstk.Reference(nfet_1, (-6.9,2.835)))
diffn_nfets_1.add(gdstk.Reference(nfet_1, (-4.1,2.835)))
diffn_nfets_1.add(gdstk.Reference(nfet_1, (0.01,24.705), x_reflection=True))
diffn_nfets_1.add(gdstk.Reference(nfet_1, (2.81,24.705), x_reflection=True))
diffn_nfets_1.add(gdstk.Reference(nfet_1, (7.03,24.705), x_reflection=True))
diffn_nfets_1.add(gdstk.Reference(nfet_1, (9.83,24.705), x_reflection=True))
diffn_nfets_1.add(gdstk.Reference(nfet_1, (-6.9,24.705), x_reflection=True))
diffn_nfets_1.add(gdstk.Reference(nfet_1, (-4.1,24.705), x_reflection=True))
diffn_nfets_1.add(gdstk.Reference(nfet_1, (13.94,24.705), x_reflection=True))
diffn_nfets_1.add(gdstk.Reference(nfet_1, (16.74,24.705), x_reflection=True))
diffn_nfets_1.add(gdstk.Reference(nfet_1, (-4.1,-1.625)))
diffn_nfets_1.add(gdstk.Reference(nfet_1, (-6.9,-1.625)))
diffn_nfets_1.add(gdstk.Reference(nfet_1, (16.74,-1.625)))
diffn_nfets_1.add(gdstk.Reference(nfet_1, (13.94,-1.625)))
diffn_nfets_1.add(gdstk.Reference(nfet_1, (2.81,-1.625)))
diffn_nfets_1.add(gdstk.Reference(nfet_1, (0.01,-1.625)))
diffn_nfets_1.add(gdstk.Reference(nfet_1, (9.83,-1.625)))
diffn_nfets_1.add(gdstk.Reference(nfet_1, (7.03,-1.625)))
diffn_nfets_1.add(gdstk.Reference(nfet_1, (0.01,20.245), x_reflection=True))
diffn_nfets_1.add(gdstk.Reference(nfet_1, (2.81,20.245), x_reflection=True))
diffn_nfets_1.add(gdstk.Reference(nfet_1, (7.03,20.245), x_reflection=True))
diffn_nfets_1.add(gdstk.Reference(nfet_1, (9.83,20.245), x_reflection=True))
diffn_nfets_1.add(gdstk.Reference(nfet_1, (-6.9,10.625), x_reflection=True))
diffn_nfets_1.add(gdstk.Reference(nfet_1, (-4.1,10.625), x_reflection=True))
diffn_nfets_1.add(gdstk.Reference(nfet_1, (-4.1,12.455)))
diffn_nfets_1.add(gdstk.Reference(nfet_1, (-6.9,12.455)))
diffn_nfets_1.add(gdstk.Reference(nfet_1, (-6.9,20.245), x_reflection=True))
diffn_nfets_1.add(gdstk.Reference(nfet_1, (-4.1,20.245), x_reflection=True))
diffn_nfets_1.add(gdstk.Reference(nfet_1, (13.94,2.835)))
diffn_nfets_1.add(gdstk.Reference(nfet_1, (16.74,2.835)))
diffn_nfets_1.add(gdstk.Reference(nfet_1, (13.94,10.625), x_reflection=True))
diffn_nfets_1.add(gdstk.Reference(nfet_1, (16.74,10.625), x_reflection=True))
diffn_nfets_1.add(gdstk.Reference(nfet_1, (16.74,12.455)))
diffn_nfets_1.add(gdstk.Reference(nfet_1, (13.94,12.455)))
diffn_nfets_1.add(gdstk.Reference(nfet_1, (13.94,20.245), x_reflection=True))
diffn_nfets_1.add(gdstk.Reference(nfet_1, (16.74,20.245), x_reflection=True))

lib.write_gds('DiffN_nfets_1.gds')
